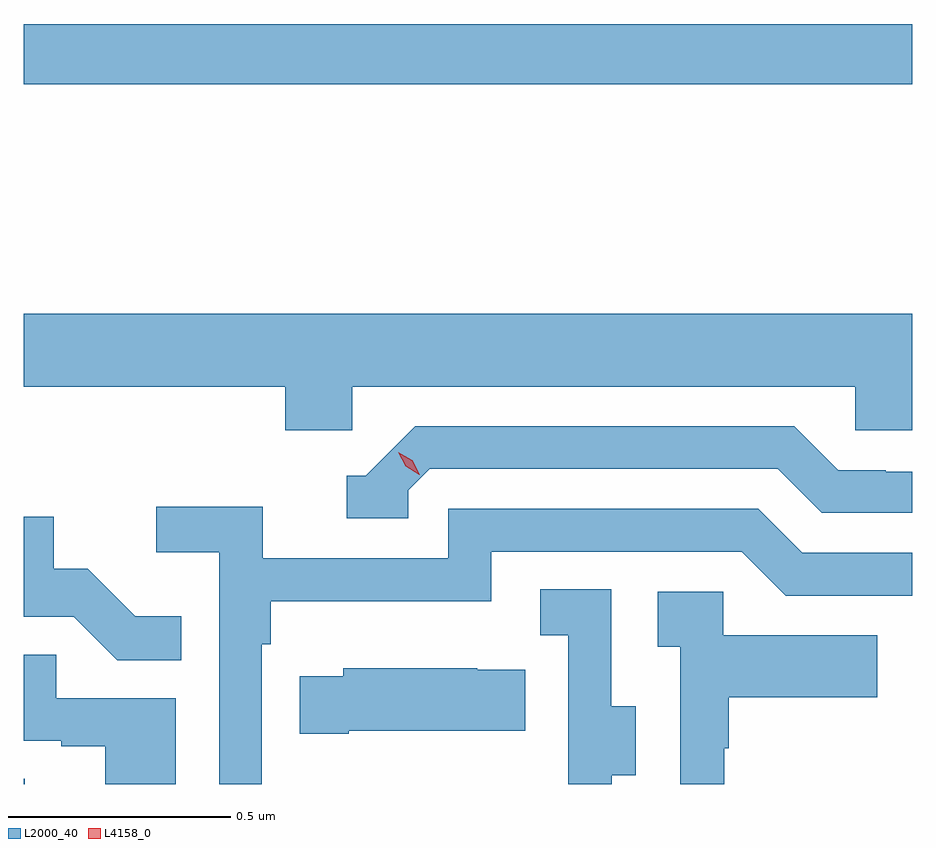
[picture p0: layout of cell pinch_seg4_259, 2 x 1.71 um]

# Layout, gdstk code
import gdstk
lib = gdstk.Library(unit=1e-6, precision=1e-09)
def R(c, l, rs):  # rectangles x0, y0, x1, y1
    for r in rs: c.add(gdstk.rectangle(r[:2], r[2:], *l))
def P(c, l, *ps):  # polygons
    for p in ps: c.add(gdstk.Polygon(p, *l))
L2000_40 = (2000, 40)
L4158_0 = (4158, 0)

pinch_seg4_259 = lib.new_cell('pinch_seg4_259')
R(pinch_seg4_259, L2000_40, [(951.484,811.91,951.487,811.922), (951.484,813.484,953.484,813.62)])
P(pinch_seg4_259, L2000_40, [(952.224,812.804),(953.355,812.804),(953.355,812.706),(953.484,812.706),(953.484,812.968),(951.484,812.968),(951.484,812.804),(952.073,812.804),(952.073,812.706),(952.224,812.706)],
  [(952.35,812.571),(952.398,812.619),(953.181,812.619),(953.28,812.52),(953.484,812.52),(953.484,812.613),(953.424,812.613),(953.424,812.616),(953.317,812.616),(953.218,812.715),(952.365,812.715),(952.254,812.604),(952.211,812.604),(952.211,812.508),(952.35,812.508)],
  [(952.02,812.225),(952.04,812.225),(952.04,812.321),(952.536,812.321),(952.536,812.433),(953.1,812.433),(953.199,812.334),(953.484,812.334),(953.484,812.43),(953.236,812.43),(953.137,812.529),(952.44,812.529),(952.44,812.418),(952.022,812.418),(952.022,812.534),(951.783,812.534),(951.783,812.432),(951.924,812.432),(951.924,811.91),(952.02,811.91)],
  [(951.839,812.287),(951.735,812.287),(951.628,812.394),(951.552,812.394),(951.552,812.511),(951.484,812.511),(951.484,812.286),(951.597,812.286),(951.695,812.188),(951.839,812.188)],
  [(952.807,811.93),(952.861,811.93),(952.861,812.085),(952.806,812.085),(952.806,812.348),(952.647,812.348),(952.647,812.245),(952.71,812.245),(952.71,811.941),(952.709,811.941),(952.709,811.91),(952.807,811.91)],
  [(953.061,811.991),(953.071,811.991),(953.071,812.105),(953.405,812.105),(953.405,812.245),(953.058,812.245),(953.058,812.343),(952.911,812.343),(952.911,812.219),(952.962,812.219),(952.962,811.91),(953.061,811.91)],
  [(951.826,812.103),(951.557,812.103),(951.557,812.201),(951.484,812.201),(951.484,812.007),(951.569,812.007),(951.569,811.995),(951.668,811.995),(951.668,811.91),(951.826,811.91)],
  [(952.216,812.03),(952.613,812.03),(952.613,812.167),(952.505,812.167),(952.505,812.17),(952.203,812.17),(952.203,812.152),(952.105,812.152),(952.105,812.023),(952.216,812.023)])
P(pinch_seg4_259, L4158_0, [(952.374,812.606),(952.344,812.625),(952.327,812.657),(952.327,812.657),(952.327,812.657),(952.358,812.638),(952.375,812.606),(952.375,812.606)])

lib.write_gds('pinch_seg4_259.gds')
